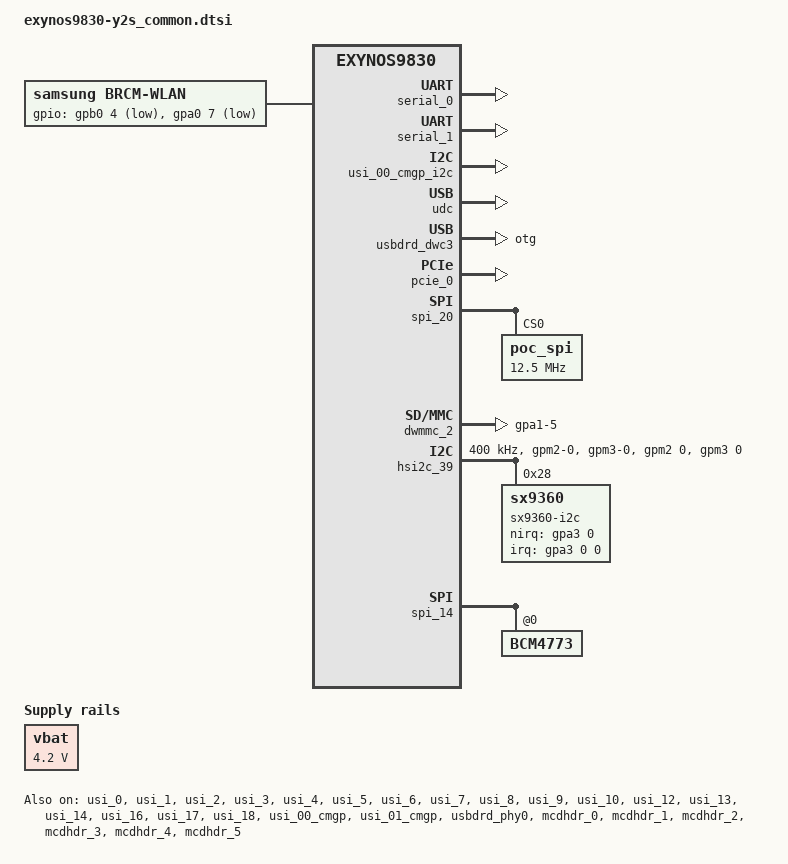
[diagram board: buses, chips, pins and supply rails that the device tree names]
/*
 * SAMSUNG EXYNOS9830 board device tree source
 *
 * Copyright (c) 2019 Samsung Electronics Co., Ltd.
 *		http://www.samsung.com
 *
 * This program is free software; you can redistribute it and/or modify
 * it under the terms of the GNU General Public License version 2 as
 * published by the Free Software Foundation.
*/

#include <dt-bindings/clock/exynos9830.h>
#include "exynos9830-universal9830_if-pmic-max77705.dtsi"
#include <dt-bindings/pci/pci.h>
#include "exynos9830-y2s_camera.dtsi"
#include "exynos9830-picasso2lte_mst_r00.dtsi"
#include "exynos9830-hubble_sound.dtsi"
#include "exynos9830-hubbley2_input_common.dtsi"
#include "exynos9830-hubble_vib.dtsi"
#include "exynos9830-inputbooster.dtsi"

/ {
	compatible = "samsung,exynos9830", "samsung,UNIVERSAL9830";

	fragment@model {
		target-path = "/";
		__overlay__ {
			#address-cells = <2>;
			#size-cells = <1>;

			fixed-rate-clocks {
				oscclk {
					compatible = "samsung,exynos9830-oscclk";
					clock-frequency = <26000000>;
				};
			};

			exynos_rgt {
				compatible = "samsung,exynos-rgt";
				num-acpm-pmic = <2>;
			};

			usb_hs_tune:hs_tune {
				status = "disabled";
				hs_tune_cnt = <5>;
				/* value = <device host> */
				hs_tune1 {
					tune_name = "tx_pre_emp";
					tune_value = <0x3 0x3>;
				};

				hs_tune2 {
					tune_name = "tx_vref";
					tune_value = <0xd 0xd>;
				};

				hs_tune3 {
					tune_name = "rx_sqrx";
					tune_value = <0x4 0x4>;
				};

				hs_tune4 {
					tune_name = "utmi_clk";
					tune_value = <0x1 0x1>;
				};

				hs_tune5 {
					tune_name = "compdis";
					tune_value = <0x7 0x7>;
				};
			};

			usb_ss_tune:ss_tune {
				status = "disabled";
				ss_tune_cnt = <30>;
				/* value = <device host> */
				/* 0xffffffff means using default value */
				ss_tune1 {
					tune_name = "ssrx_sqhs_th_ss";
					tune_value = <0xffffffff 0xffffffff>;
				};

				ss_tune2 {
					tune_name = "ssrx_sqhs_th_ssp";
					tune_value = <0xffffffff 0xffffffff>;
				};

				ss_tune3 {
					tune_name = "ssrx_lfps_th";
					tune_value = <0xffffffff 0xffffffff>;
				};

				ss_tune4 {
					tune_name = "ssrx_adap_coef_sel";
					tune_value = <0xffffffff 0xffffffff>;
				};

				ss_tune5 {
					tune_name = "ssrx_mf_eq_ctrl_ss";
					tune_value = <0xffffffff 0xffffffff>;
				};

				ss_tune6 {
					tune_name = "ssrx_mf_eq_ctrl_ssp";
					tune_value = <0xffffffff 0xffffffff>;
				};

				ss_tune7 {
					tune_name = "ssrx_hf_eq_ctrl_ss";
					tune_value = <0xffffffff 0xffffffff>;
				};

				ss_tune8 {
					tune_name = "ssrx_hf_eq_ctrl_ssp";
					tune_value = <0xffffffff 0xffffffff>;
				};

				ss_tune9 {
					tune_name = "ssrx_dfe_1tap_ctrl_ss";
					tune_value = <0xffffffff 0xffffffff>;
				};

				ss_tune10 {
					tune_name = "ssrx_dfe_1tap_ctrl_ssp";
					tune_value = <0xffffffff 0xffffffff>;
				};

				ss_tune11 {
					tune_name = "ssrx_dfe_2tap_ctrl_ss";
					tune_value = <0xffffffff 0xffffffff>;
				};

				ss_tune12 {
					tune_name = "ssrx_dfe_2tap_ctrl_ssp";
					tune_value = <0xffffffff 0xffffffff>;
				};

				ss_tune13 {
					tune_name = "ssrx_dfe_3tap_ctrl_ss";
					tune_value = <0xffffffff 0xffffffff>;
				};

				ss_tune14 {
					tune_name = "ssrx_dfe_3tap_ctrl_ssp";
					tune_value = <0xffffffff 0xffffffff>;
				};

				ss_tune15 {
					tune_name = "ssrx_dfe_4tap_ctrl_ss";
					tune_value = <0xffffffff 0xffffffff>;
				};

				ss_tune16 {
					tune_name = "ssrx_dfe_4tap_ctrl_ssp";
					tune_value = <0xffffffff 0xffffffff>;
				};

				ss_tune17 {
					tune_name = "ssrx_dfe_5tap_ctrl_ss";
					tune_value = <0xffffffff 0xffffffff>;
				};

				ss_tune18 {
					tune_name = "ssrx_dfe_5tap_ctrl_ssp";
					tune_value = <0xffffffff 0xffffffff>;
				};

				ss_tune19 {
					tune_name = "ssrx_term_cal";
					tune_value = <0xffffffff 0xffffffff>;
				};

				ss_tune20 {
					tune_name = "sstx_amp_ss";
					tune_value = <0xffffffff 0xffffffff>;
				};

				ss_tune21 {
					tune_name = "sstx_deemp_ss";
					tune_value = <0xffffffff 0xffffffff>;
				};

				ss_tune22 {
					tune_name = "sstx_pre_shoot_ss";
					tune_value = <0xffffffff 0xffffffff>;
				};

				ss_tune23 {
					tune_name = "sstx_amp_ssp";
					tune_value = <0xffffffff 0xffffffff>;
				};

				ss_tune24 {
					tune_name = "sstx_deemp_ssp";
					tune_value = <0xffffffff 0xffffffff>;
				};

				ss_tune25 {
					tune_name = "sstx_pre_shoot_ssp";
					tune_value = <0xffffffff 0xffffffff>;
				};

				ss_tune26 {
					tune_name = "sstx_idrv_up";
					tune_value = <0xffffffff 0xffffffff>;
				};

				ss_tune27 {
					tune_name = "sstx_lfps_idrv_up";
					tune_value = <0xffffffff 0xffffffff>;
				};

				ss_tune28 {
					tune_name = "sstx_up_term";
					tune_value = <0xffffffff 0xffffffff>;
				};

				ss_tune29 {
					tune_name = "sstx_dn_term";
					tune_value = <0xffffffff 0xffffffff>;
				};

				ss_tune30 {
					tune_name = "rext_ovrd";
					tune_value = <0xffffffff 0xffffffff>;
				};
			};

			usb_notifier {
				compatible = "samsung,usb-notifier";
				udc = <&udc>;

				usb-ldocontrol = <4>; /* Exynos9830 */
				disable_host_wakelock;
			};

			wlan {
				compatible = "samsung,brcm-wlan";
				gpios = <&gpb0 4 0x1 /* WLAN_EN */
					&gpa0 7 0x1 /* WLAN HOST WAKE GPIO_0 */>;
				pinctrl-names = "default";
				pinctrl-0 = <&cfg_wlanen &wlan_host_wake>;
				status = "okay";
			};

			vbat: vbat {
				compatible = "regulator-fixed";
				regulator-name = "VBAT";
				regulator-min-microvolt = <4200000>;
				regulator-max-microvolt = <4200000>;
				regulator-boot-on;
			};

			hall {
				status = "okay";
				compatible = "hall";
				pinctrl-names = "default";
				pinctrl-0 = <&hall_irq>;
				hall,gpio_flip_cover = <&gpa3 6 1>;
			};

			certify_hall {
				status = "okay";
				compatible = "certify_hall";
				pinctrl-names = "default";
				pinctrl-0 = <&certify_hall_irq>;
				certify_hall,gpio_certify_cover = <&gpa0 2 1>;
			};

			sec_abc {
				compatible = "samsung,sec_abc";
				status = "okay";

				gpu {
					gpu,label="GPU fault";
					gpu,threshold_count=<20>;
					gpu,threshold_time=<1200>;
				};
				aicl {
					aicl,label="battery aicl";
					aicl,threshold_count=<5>;
					aicl,threshold_time=<300>;
				};
			};

			abc_hub {
				compatible = "samsung,abc_hub";
				status = "okay";

				bootc {
					bootc,time_spec_user = <100000>; /* user binary user build */
					bootc,time_spec_eng = <100000>; /* user binary eng build */
					bootc,time_spec_fac = <100000>; /* factory binary */
				};
			};

			argos {
				compatible = "samsung,argos";
				#address-cells = <1>;
				/*  The device number should be assigned for each device, e.g. "boot_device@1" and "boot_device@2".
				 * Duplicated number is not allowed. Please refer the below example.
				 */

				/* Table Format
				 * threshold : throughput threshold(Mbps)
				 * big_min : Big Core's minimum frequency lock. 0 means not set,
				 * big_max : Big Core's maximum frequency lock. 0 means not set,
				 * mid_min : Middle Core's minimum frequency lock. 0 means not set,
				 * mid_max : Middle Core's maximum frequency lock. 0 means not set,
				 * lit_min : Little Core's minimum frequency lock. 0 means not set,
				 * lit_max : Little Core's maximum frequency lock. 0 means not set,
				 * mif : MIF frequency lock. 0 means not set,
				 * int : INT frequency lock. 0 means not set,
				 * task_affinity : "enable" - Set task affinity lock.
				 *	           "disable" - Not set or unlock,
				 *		   Task affinity should be predefined driver's code.
				 * irq_affinity : "enable" - Set irq affinity lock.
				 *                "disable" - Not set or unlock,
				 *		  IRQ affinity should be predefined driver's code.
				 * hmp_boot : "enable" - Increase hmp boosting count
				 *            "disable" - Decrease hmp boosting count
				 */

				boot_device@1 {
					net_boost,label="UFS";
					net_boost,node="";
					net_boost,sysnode="/sys/class/scsi_host/host0/transferred_cnt";
					net_boost,table {
						level_0 {
							threshold = <112>; /* Mbps */
							lit_min = <1456000>;
							mif = <1352000>;
						};
						level_1 {
							threshold = <800>; /* Mbps */
							mid_min = <1066000>;
							lit_min = <1456000>;
							mif = <1539000>;
							hmp_boost = "enable";
						};
					};
				};
			};
		}; /* end of __overlay__ */
	}; /* end of fragment */
}; /* end of root */

&serial_0 {
	samsung,uart-logging;
	status = "okay";
};

&serial_1 {
	samsung,uart-logging;
	samsung,uart-panic-log;
	status = "okay";
};

&pinctrl_0 {
	hall_irq: hall-irq {
		samsung,pins = "gpa3-6";
		samsung,pin-function = <0xf>;
		samsung,pin-pud = <0>;
		samsung,pin-drv = <0>;
	};

	certify_hall_irq: certify-hall-irq {
		samsung,pins = "gpa0-2";
		samsung,pin-function = <0xf>;
		samsung,pin-pud = <0>;
		samsung,pin-drv = <0>;
	};

	grip_irq: grip-irq {
		samsung,pins = "gpa3-0";
		samsung,pin-function = <0xf>;
		samsung,pin-pud = <0>;
		samsung,pin-drv = <3>;
		samsung,pin-con-pdn = <3>; // PREV in sleep
		samsung,pin-pud-pdn = <0>; // NP in sleep
	};
};

&fmp_0 {
	exynos,block-type = "sda";
	exynos,fips-block_offset = <5>;
};

&usi_0 {
	usi_v2_mode = "i2c";
	status = "okay";
};

&usi_1 {
	usi_v2_mode = "i2c";
	status = "okay";
};

&usi_2 {
	usi_v2_mode = "i2c";
	status = "okay";
};

&usi_3 {
	usi_v2_mode = "i2c";
	status = "okay";
};

&usi_4 {
	usi_v2_mode = "spi";
	status = "okay";
};

&usi_5 {
	usi_v2_mode = "i2c";
	status = "okay";
};

&usi_6 {
	usi_v2_mode = "spi";
	status = "okay";
};

&usi_7 {
	usi_v2_mode = "i2c";
	status = "okay";
};

&usi_8 {
	usi_v2_mode = "spi";
	status = "okay";
};

&usi_9 {
	usi_v2_mode = "spi";
	status = "okay";
};

&usi_10 {
	usi_v2_mode = "spi";
	status = "okay";
};

&usi_12 {
	usi_v2_mode = "i2c";
	status = "okay";
};

&usi_13 {
	usi_v2_mode = "i2c";
	status = "okay";
};

&usi_14 {
	usi_v2_mode = "spi";
	status = "okay";
};

&usi_16 {
	usi_v2_mode = "uart";
	status = "okay";
};

&usi_17 {
	usi_v2_mode = "i2c";
	status = "okay";
};

&usi_18 {
	usi_v2_mode = "spi";
	status = "okay";
};

&usi_00_cmgp {
	usi_v2_mode = "i2c";
	status = "okay";
};

&usi_00_cmgp_i2c {
	usi_v2_mode = "i2c";
	status = "okay";
};

&usi_01_cmgp {
	usi_v2_mode = "spi";
	status = "okay";
};

&serial_18 {
	pinctrl-0 = <&uart18_bus_dual>;
};

&udc {
	status = "okay";
};

&usbdrd_dwc3 {
	status = "okay";

	dr_mode = "otg";
	maximum-speed = "super-speed-plus";
	snps,quirk-frame-length-adjustment = <0x20>;
	/* snps,u1u2_exitfail_quirk; */
	/* ux_exit_in_px should be defined in MK, LT */
	snps,ux_exit_in_px_quirk;
	/* elastic_buf_mode_quirk should be defined in MK */
	snps,elastic_buf_mode_quirk;
	usb3-lpm-capable;
	snps,usb3_lpm_capable;
	adj-sof-accuracy = <1>;
	/*
	 * dis-u2-freeclk-exists-quirk, dis_u2_susphy_quirk are alternative.
	 * One of them should be selected
	 */
	snps,dis-u2-freeclk-exists-quirk;
	/*snps,dis_u2_susphy_quirk;*/
	samsung,no-extra-delay;
	usb_host_device_timeout = <0x7ff>; /* Max value */

	usb_audio_offloading = <1>;
	abox = <&abox>;
	/* check susphy support */
	xhci_l2_support = <1>;
};

&usbdrd_phy0 {
	status = "okay";

	/*
	pinctrl-names = "default";
	pinctrl-0 = <&phy_port>;
	*/
	phy,gpio_phy_port = <&gpm26 0 0x0>;
	hs_tune_param = <&usb_hs_tune>;
	ss_tune_param = <&usb_ss_tune>;
};

&pcie_0 {
	pinctrl-names = "active","idle";
	pinctrl-0 = <&pcie0_clkreq &pcie0_perst &cfg_wlanen &wlan_host_wake>;
	pinctrl-1 = <&pcie0_perst &cfg_wlanen &wlan_host_wake>;
	status = "okay";
	use-sysmmu = "false";
	use-cache-coherency = "false";
	use-msi = "false";
	ep-device-type = <EP_BCM_WIFI>;
};

&pinctrl_1 {
	spi20_input_none:
	spi20-input-none {
		samsung,pins = "gpm4-0", "gpm5-0", "gpm6-0", "gpm7-0";
		samsung,pin-function = <0>;
		samsung,pin-pud = <0>;
		samsung,pin-drv = <0>;
	};
};

&spi_20 {
	#address-cells = <1>;
	#size-cells = <0>;
	status = "okay";
	pinctrl-names = "default", "idle";
	pinctrl-0 = <&spi20_bus &spi20_cs_func>;
	pinctrl-1 = <&spi20_input_none>;
	num-cs = <1>;
	poc_spi@0 {
		compatible = "poc_spi";
		reg = <0x0>;
		spi-max-frequency = <12500000>;
		bits-per-word = <8>;
		controller-data {
			cs-gpio = <&gpm7 0 0>;
			samsung,spi-chip-select-mode = <0>;
			samsung,spi-feedback-delay = <0>;
		};
	};
};

&pinctrl_1 {
	disp_det_ctrl:	disp-det-ctrl {
		samsung,pins = "gpm17-0";
		samsung,pin-pud = <0>;
	};
};

&pinctrl_5 {
	disp_te_ctrl:	disp-te-ctrl {
		samsung,pins = "gpc0-4";
		samsung,pin-con-pdn = <3>; // prev in sleep
		samsung,pin-pud-pdn = <0>; // np in sleep
	};
};

&s6e3hab {
	size = <70 155>;
};

&panel_drv_0 {
    status = "okay";
	ddi_info = <&s6e3ha9>;

	#address-cells = <2>;
	#size-cells = <1>;
	ranges;
	pinctrl-names = "default";
	pinctrl-0 = <&disp_det_ctrl &disp_te_ctrl>;

	gpios {
		disp-reset {
			name = "disp-reset";
			gpios = <&gpa3 4 1>;	/* ACTIVE_LOW */
			dir = <0>;  /* OUT */
			irq-type = <0x0>;   /* NONE */
		};

		disp-det {
			name = "disp-det";
			gpios = <&gpm17 0 1>;  /* 0:OK, 1:NOK(active) */
			dir = <1>;  /* IN */
			irq-type = <0x2>;   /* FALLING EDGE */
			irq-pend {
				reg = <0x0 0x15850A34 0x0>;
				bit = <0x2>;
			};
		};

		err-fg {
			name = "err-fg";
			gpios = <&gpa3 5 0>; 		/* 0:NOK(active) 1:OK */
			dir = <1>;  				/* IN */
			irq-type = <0x00002001>;	/* RISING EDGE | ONE_SHOT */
		};
	};

	regulators {
		ddi-vci {
			regulator = <&dp_ldo4>;
			def-voltage = <3000000>;
			lpm-voltage = <3000000>;
		};

		ddi-vdd3 {
			regulator = <&dp_ldo1>;
			def-voltage = <1800000>;
			lpm-voltage = <1800000>;
		};

		ddr-vddr {
			regulator = <&dp_buck>;
			def-voltage = <1800000>;
			lpm-voltage = <1500000>;
		};

		short-detect {
			regulator = <&dp_elvss>;
			def-current = <2000>;
			lpm-current = <8000>;
		};
	};
	panel-lookup {
		panel-name =
			"s6e3ha9_davinci2_a3_s0_default",
			"s6e3hab_hubble1_a3_s0_default",
			"s6e3hab_hubble2_a3_s0_default",
			"s6e3hab_hubble3_a3_s0_default",
			"s6e3hab_hubble1_a3_s0_preliminary",
			"s6e3hab_hubble2_a3_s0_preliminary",
			"s6e3hab_hubble3_a3_s0_preliminary",
			"s6e3hab_hubble1_a3_s0_preliminary_no_osc",
			"s6e3hab_hubble2_a3_s0_preliminary_no_osc",
			"s6e3hab_hubble3_a3_s0_preliminary_no_osc",
			"s6e3hab_hubble1_a3_s0_default_no_osc",
			"s6e3hab_hubble2_a3_s0_default_no_osc",
			"s6e3hab_hubble3_a3_s0_default_no_osc";
		panel-ddi-info = <&s6e3ha9 &s6e3hab>;
		panel-lut = <
			0xa10013 0xff00ff 0x0 0x0  /* S6E3HA9 1440x3040 PANEL*/

			0x000000 0x0030C3 0x7 0x1  /* S6E3HAB 1440x3200 X1 PANEL */
			0x000001 0x0030C3 0x7 0x1  /* S6E3HAB 1440x3200 X1 PANEL */
			0x000000 0x0030C0 0xA 0x1  /* S6E3HAB 1440x3200 X1 PANEL */
			0x000040 0x0030C3 0x4 0x1  /* S6E3HAB 1440x3200 X1 PANEL */
			0x000041 0x0030C3 0x4 0x1  /* S6E3HAB 1440x3200 X1 PANEL */
			0x000000 0x003000 0x1 0x1  /* S6E3HAB 1440x3200 X1 PANEL */

			0x001000 0x0030C3 0x8 0x1  /* S6E3HAB 1440x3200 Y2 PANEL */
			0x001001 0x0030C3 0x8 0x1  /* S6E3HAB 1440x3200 Y2 PANEL */
			0x001000 0x0030C0 0xB 0x1  /* S6E3HAB 1440x3200 Y2 PANEL */
			0x001040 0x0030C3 0x5 0x1  /* S6E3HAB 1440x3200 Y2 PANEL */
			0x001041 0x0030C3 0x5 0x1  /* S6E3HAB 1440x3200 Y2 PANEL */
			0x001000 0x003000 0x2 0x1  /* S6E3HAB 1440x3200 Y2 PANEL */

			0x002000 0x0030C3 0x9 0x1  /* S6E3HAB 1440x3200 Z3 PANEL */
			0x002001 0x0030C3 0x9 0x1  /* S6E3HAB 1440x3200 Z3 PANEL */
			0x002000 0x0030C0 0xC 0x1  /* S6E3HAB 1440x3200 Z3 PANEL */
			0x002040 0x0030C3 0x6 0x1  /* S6E3HAB 1440x3200 Z3 PANEL */
			0x002041 0x0030C3 0x6 0x1  /* S6E3HAB 1440x3200 Z3 PANEL */
			0x002000 0x003000 0x3 0x1  /* S6E3HAB 1440x3200 Z3 PANEL */

			0x000000 0x000000 0x2 0x1  /* default */
		>;
	};
};

&pinctrl_0 {
	dwmmc2_cd_ext_irq: dwmmc2_cd_ext_irq {
		samsung,pins = "gpa1-5";
		samsung,pin-function = <0xf>;
		samsung,pin-pud = <0>;
		samsung,pin-drv = <4>;
	};
};

&ufs {
	/* board type for UFS CAL */
	brd-for-cal = /bits/ 8 <16>;  /* (1:SMDK, 16:UNIV) board */

};

&dwmmc_2 {
	#address-cells = <1>;
	#size-cells = <0>;
	status = "okay";
	num-slots = <1>;
	supports-4bit;
	supports-cmd23;
	supports-erase;
	supports-highspeed;
	sd-uhs-sdr50;
	sd-uhs-sdr104;
	card-detect-gpio;
	bypass-for-allpass;
	use-fine-tuning;
	card-init-hwacg-ctrl;
	skip-init-mmc-scan;
	fifo-depth = <0x40>;
	qos_dvfs_level = <400000>;
	desc-size = <4>;
	ssc-rate = <3>;
	card-detect-delay = <200>;
	data-timeout = <200>;
	hto-timeout = <80>;
	samsung,dw-mshc-ciu-div = <3>;
	clock-frequency = <800000000>;
	samsung,dw-mshc-sdr-timing = <3 0 2 0>;
	samsung,dw-mshc-ddr-timing = <3 0 2 1>;
	samsung,dw-mshc-sdr50-timing = <3 0 4 2>;
	samsung,dw-mshc-sdr104-timing = <3 0 3 0>;

	num-ref-clks = <9>;
	ciu_clkin = <25 50 50 25 50 100 200 50 50>;

	/* Swapping clock drive strength */
	clk-drive-number = <6>;
	pinctrl-names = "default",
		"fast-slew-rate-1x",
		"fast-slew-rate-1_5x",
		"fast-slew-rate-2x",
		"fast-slew-rate-2_5x",
		"fast-slew-rate-3x",
		"fast-slew-rate-4x",
		"pins-as-pdn",
		"pins-as-func";
	pinctrl-0 = <&sd2_clk &sd2_cmd &sd2_bus1 &sd2_bus4 &dwmmc2_cd_ext_irq>;
	pinctrl-1 = <&sd2_clk_fast_slew_rate_1x>;
	pinctrl-2 = <&sd2_clk_fast_slew_rate_1_5x>;
	pinctrl-3 = <&sd2_clk_fast_slew_rate_2x>;
	pinctrl-4 = <&sd2_clk_fast_slew_rate_2_5x>;
	pinctrl-5 = <&sd2_clk_fast_slew_rate_3x>;
	pinctrl-6 = <&sd2_clk_fast_slew_rate_4x>;
	pinctrl-7 = <&sd2_pins_as_pdn>;
	pinctrl-8 = <&sd2_clk &sd2_cmd &sd2_bus1 &sd2_bus4>;

	card-detect = <&gpa1 5 0xf>;
	sec-sd-slot-type = <2>; /* Hybrid Tray SD slot */

	slot@0 {
		reg = <0>;
		bus-width = <4>;
		disable-wp;
	};
};

&pinctrl_1 {
	grip_i2c: grip-i2c {
		samsung,pins = "gpm2-0", "gpm3-0";
		samsung,pin-function = <3>;
		samsung,pin-pud = <0>;
		samsung,pin-drv = <0>;
	};
};

&hsi2c_39 { /* 15D10000 */
	#address-cells = <1>;
	#size-cells = <0>;
	gpios = <&gpm2 0 0 &gpm3 0 0>;
	status = "okay";
	clock-frequency = <400000>;

	pinctrl-names = "default";
	pinctrl-0 = <&grip_i2c>;

	sx9360-i2c@28 {
		compatible = "sx9360";
		reg = <0x28>;
		status = "okay";
		pinctrl-names = "default";
		pinctrl-0 = <&grip_irq>;
		interrupt-parent = <&gpa3>;
		interrupts = <0 0 0>;

		sx9360,nirq-gpio = <&gpa3 0 0>;
		sx9360,refresolution_reg = <0x0f>; /* same as resolution_reg */
		sx9360,refagainfreq_reg = <0x36>; /* same as againfreq_reg */
		sx9360,resolution_reg = <0x0f>; /* resolution : 1024 */
		sx9360,againfreq_reg = <0x36>; /* freq : 83.33 kHz, again : +/-5.25 pF */
		sx9360,refgainrawfilt_reg = <0x22>; /* same as gainrawfilt_reg */
		sx9360,gainrawfilt_reg = <0x22>; /* rawfilter : 1-1/4, gain : x8 */
		sx9360,hyst_reg = <0x15>; /* hysteresis : +/-6 %, debouncer : 2 samples */
		sx9360,proxthresh_reg = <0x3C>; /* threshhold : 1800 */
		sx9360,hallic_cert_detect = <1>;
	};
};

&spi_14 {
        BCM4773@0 {
        	ssp-ap-type = <1>;
        };
};

&mcdhdr_0 {
	status = "okay";
};

&mcdhdr_1 {
	status = "okay";
};

&mcdhdr_2 {
	status = "okay";
};

&mcdhdr_3 {
	status = "okay";
};

&mcdhdr_4 {
	status = "okay";
};

&mcdhdr_5 {
	status = "okay";
};
